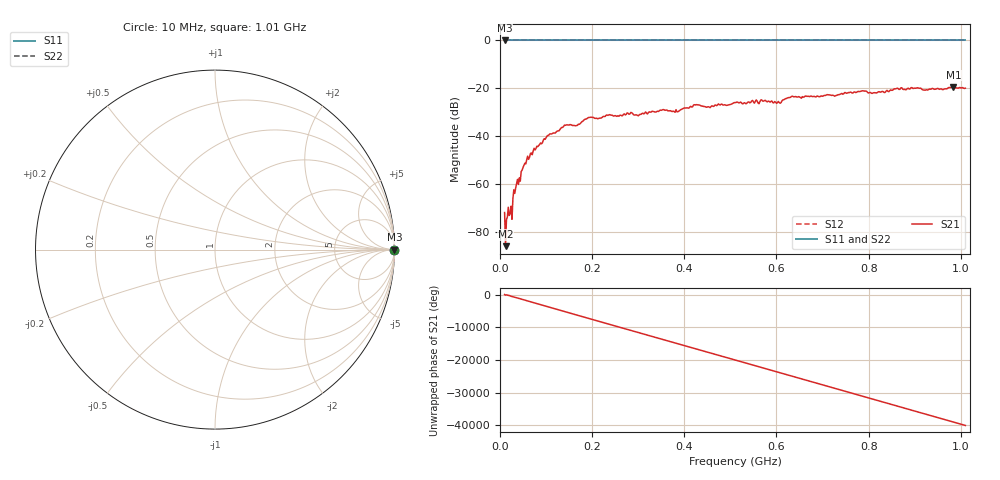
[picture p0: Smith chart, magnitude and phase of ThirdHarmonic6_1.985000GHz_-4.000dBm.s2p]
! 8/16/2025 11:51:43 PM
! C:\ANRITSUVNA\TEMP\TEMP.S2P
! CHANNEL.1
! TR.MEASUREMENT
! RAW.DATA
! RF.CORRECTION.OFF
! AVERAGING.OFF
! IF.BANDWIDTH: 5KHZ
! SWEEPTYPE:  FREQ.SWEEP(Linear)
! Reference Plane Port Info
! PORT:  PORT1  PORT2
! DISTANCE:  0  m  0  m
! TIME:  0  s  0  s
! PHASE.OFFSET:  0  deg.  0  deg.
! LOSS:  0  dB  0  dB
! REF.LOSS:  0  dB  0  dB
! REF.FREQ:  0  Hz  0  Hz
! Power Info
! POWER:  -20  dBm  -20  dBm
! EFF.POWER:  -20  dBm  -20  dBm
! SOURCE.ATTEN:  0  dB  0  dB
! TEST.ATTEN:  0  dB  0  dB
# GHZ S RI R 50.0
! FREQ.GHZ  S11RE  S11IM  S21RE  S21IM  S12RE  S12IM  S22RE  S22IM
!; PortSelection: Port_12
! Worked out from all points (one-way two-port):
!   501 points, 10 MHz to 1.01 GHz, reference 50 ohm
!   highest |S21| = -19.39 dB at 984 MHz (marker M1); lowest = -85.9 dB at 12 MHz (marker M2)
!   lowest |S11| = 0.0 dB at 10 MHz (marker M3)
!   |S11| at or under -10 dB: nowhere
!   |S22| runs from 0.0 to 0.0 dB; largest |S21 - S12| = 1.1
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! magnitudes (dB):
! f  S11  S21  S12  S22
! 10 MHz  0.0  -71.9  0.0  0.0
! 12 MHz  0.0  -85.9  0.0  0.0
! 24 MHz  0.0  -69.2  0.0  0.0
! 34 MHz  0.0  -61.6  0.0  0.0
! 50 MHz  0.0  -53.0  0.0  0.0
! 70 MHz  0.0  -47.7  0.0  0.0
! 106 MHz  0.0  -39.5  0.0  0.0
! 142 MHz  0.0  -35.4  0.0  0.0
! 164 MHz  0.0  -35.6  0.0  0.0
! 178 MHz  0.0  -33.9  0.0  0.0
! 196 MHz  0.0  -32.1  0.0  0.0
! 344 MHz  0.0  -29.7  0.0  0.0
! 384 MHz  0.0  -29.8  0.0  0.0
! 424 MHz  0.0  -26.9  0.0  0.0
! 452 MHz  0.0  -27.7  0.0  0.0
! 510 MHz  0.0  -25.9  0.0  0.0
! 604 MHz  0.0  -25.5  0.0  0.0
! 632 MHz  0.0  -23.5  0.0  0.0
! 678 MHz  0.0  -23.5  0.0  0.0
! 844 MHz  0.0  -21.4  0.0  0.0
! 984 MHz  0.0  -19.4  0.0  0.0
! 1.01 GHz  0.0  -19.9  0.0  0.0
